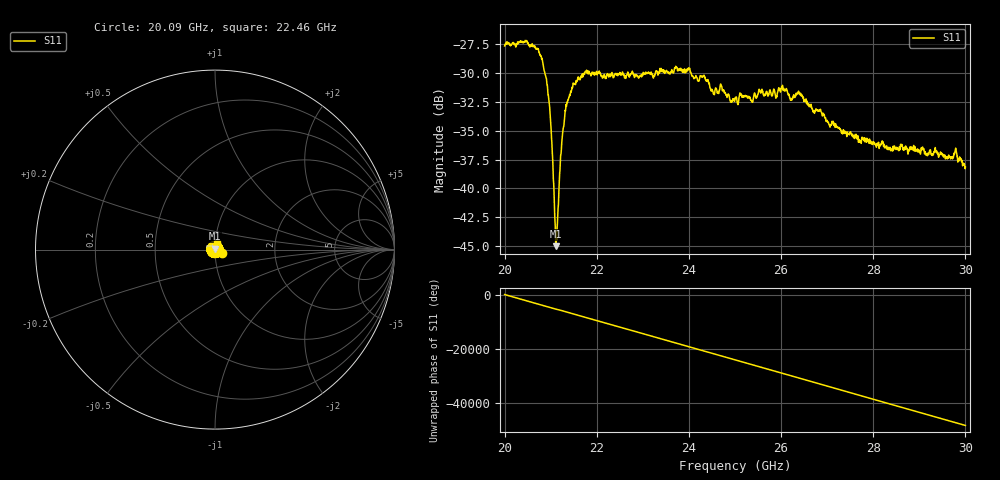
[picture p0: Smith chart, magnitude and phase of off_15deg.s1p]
#  HZ  S  RI  R  50.00
! Rohde & Schwarz ZVA40 4Ports - Version 3.90 - 1145.1110k42 SN: 100403
! Date: 2023-10-03 12:20:33
! Measurement: S12
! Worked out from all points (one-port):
!   5001 points, 20 GHz to 30 GHz, reference 50 ohm
!   lowest |S11| = -45.0 dB at 21.11 GHz (marker M1), VSWR 1.01, Z = 50 + j0.562 ohm
!   |S11| at or under -10 dB: start of sweep to end of sweep
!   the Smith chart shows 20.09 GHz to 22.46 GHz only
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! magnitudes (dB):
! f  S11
! 20 GHz  -27.6
! 20.46 GHz  -27.2
! 20.8 GHz  -28.7
! 20.89 GHz  -30.2
! 20.96 GHz  -32.4
! 21.01 GHz  -35.1
! 21.08 GHz  -42.0
! 21.11 GHz  -45.0
! 21.13 GHz  -44.4
! 21.15 GHz  -42.4
! 21.25 GHz  -35.7
! 21.36 GHz  -32.6
! 21.56 GHz  -30.7
! 21.79 GHz  -29.9
! 22.5 GHz  -29.9
! 23.75 GHz  -29.7
! 24.3 GHz  -30.3
! 24.51 GHz  -31.5
! 24.71 GHz  -31.2
! 25 GHz  -32.3
! 25.99 GHz  -31.6
! 26.25 GHz  -32.1
! 26.41 GHz  -31.8
! 27.04 GHz  -34.5
! 27.5 GHz  -35.1
! 28.75 GHz  -37.0
! 29.78 GHz  -36.7
! 30 GHz  -38.1
